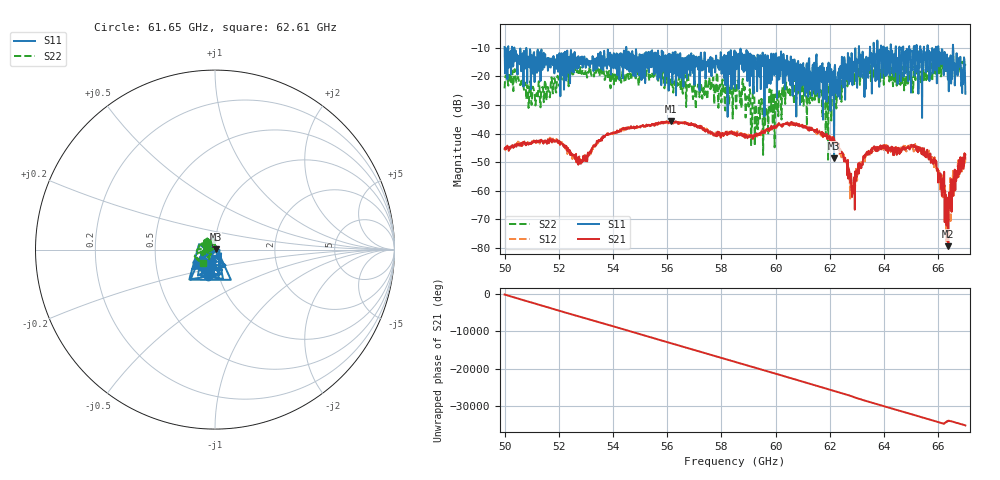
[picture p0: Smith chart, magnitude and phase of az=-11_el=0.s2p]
!Created with skrf (http://scikit-rf.org).
# GHz S RI R 50.0
!freq ReS11 ImS11 ReS21 ImS21 ReS12 ImS12 ReS22 ImS22
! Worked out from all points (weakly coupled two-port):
!   1001 points, 50 GHz to 67 GHz, reference 50 ohm
!   highest |S21| = -35.65 dB at 56.14 GHz (marker M1); lowest = -79.4 dB at 66.37 GHz (marker M2)
!   lowest |S11| = -48.6 dB at 62.16 GHz (marker M3), VSWR 1.01, Z = 50.3 + j0.244 ohm
!   |S11| at or under -10 dB: 50.36 GHz to 54.49 GHz (4.13 GHz wide, 7.88 % of centre); 54.49 GHz to 63.07 GHz (8.582 GHz wide, 14.6 % of centre); 66 GHz to 66.54 GHz (535 MHz wide, 0.807 % of centre) (the widest 3 of 27)
!   |S22| runs from -49.2 to -13.8 dB; largest |S21 - S12| = 0.0025
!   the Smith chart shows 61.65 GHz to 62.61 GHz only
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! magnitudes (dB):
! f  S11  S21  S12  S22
! 50 GHz  -9.7  -45.3  -45.1  -24.2
! 50.42 GHz  -13.3  -44.3  -44.6  -21.7
! 51.07 GHz  -11.9  -42.8  -42.5  -24.3
! 51.94 GHz  -12.5  -42.2  -42.1  -20.3
! 52.84 GHz  -13.9  -49.5  -49.6  -19.2
! 53.76 GHz  -14.1  -40.5  -40.4  -18.3
! 55.68 GHz  -13.4  -36.2  -36.2  -22.0
! 56.14 GHz  -18.6  -35.6  -36.1  -21.9
! 58.5 GHz  -24.3  -40.6  -40.1  -24.4
! 58.79 GHz  -13.9  -41.0  -40.1  -20.9
! 59.32 GHz  -25.2  -40.6  -41.1  -34.2
! 60.64 GHz  -14.2  -36.9  -36.2  -22.4
! 61.34 GHz  -26.8  -38.1  -38.7  -25.9
! 61.88 GHz  -29.0  -40.2  -41.0  -23.3
! 62.16 GHz  -48.6  -41.7  -43.1  -28.8
! 62.84 GHz  -23.1  -58.5  -60.8  -20.4
! 63.4 GHz  -14.3  -47.5  -46.8  -17.6
! 64.18 GHz  -18.7  -45.4  -45.8  -18.4
! 65.72 GHz  -11.8  -50.3  -49.2  -15.4
! 66.37 GHz  -18.4  -79.4  -62.9  -16.9
! 66.56 GHz  -11.2  -61.8  -57.5  -17.2
! 67 GHz  -26.1  -47.4  -48.3  -15.8
